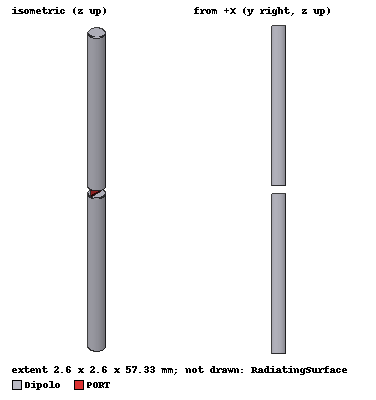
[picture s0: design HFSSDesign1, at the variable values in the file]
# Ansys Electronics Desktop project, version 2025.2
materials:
  vacuum: permittivity=1
  aluminum: permeability=1.000021 conductivity=38000000
  pec: conductivity=1e+30

design HFSSDesign1 (HFSS, HFSS Hybrid Modal Network, model units mm)
options: open_region{BoundaryType=0 OpFreq=2.3GHz}
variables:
  Lambda = 130mm
  LA = 0.441*Lambda
  RA = 0.01*Lambda
  GAP = 0.01*Lambda
  L_tune = 0.5
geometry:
  RadiatingSurface [vacuum] = region(absolute_offset=43.478261mm on all sides)
  Dipolo [pec] = cylinder(axis=Z, base_centre=(0mm, 0mm, -LA/2), radius=RA, height=LA)
  Gap = cylinder(axis=Z, base_centre=(0mm, 0mm, -GAP/2), radius=RA, height=GAP)
  Dipolo.subtract(Gap)
  PORT = rectangle(corner=(-RA, 0mm, -RA/2), z_size=GAP, x_size=2*RA)
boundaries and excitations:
  AutoOpen1: Radiation Objects=RadiatingSurface
  1: Lumped Port Objects=PORT LumpedPortType=Default Modes{Mode1{IntLine{(0, 0, -0.65) -> (0, 0, 0.65)} CharImp=Zpi}} Impedance=50ohm
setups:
  Setup1: HfssDriven Frequency=2.3GHz MaxDeltaS=0.02 MaximumPasses=6 MinimumPasses=1 MinimumConvergedPasses=1 PercentRefinement=30 BasisOrder=1 PortAccuracy=2 DrivenSolverType="Direct Solver"
    sweep Sweep: 1.15GHz to 3.45GHz, 1001 points; Type=Interpolating SaveFields InterpTolerance=0.5 InterpMaxSolns=250 InterpUsePortImped=false PassivityErrorTolerance=0.0001
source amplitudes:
  1:1: 1W 0deg
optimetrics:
  ParametricSetup1: Parametric disabled Sim._Setups=[Setup1]
    sweep L_tune: LIN 0.5 0.4 -0.001
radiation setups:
  3D: Infinite Sphere Theta=0deg..180deg step 2deg Phi=-180deg..180deg step 2deg
  Elevation: Infinite Sphere Theta=-180deg..180deg step 1deg Phi=0deg..90deg step 90deg
  Azimuth: Infinite Sphere Theta=90deg..90deg step 0deg Phi=-180deg..180deg step 1deg
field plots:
  ComplexMag_Jsurf1: Jsurf over Dipolo.face(all 6) on Setup1 : LastAdaptive at Freq=2.3GHz Phase=0deg
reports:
  S Parameter Plot1: dB(S(1,1)) vs Freq on Setup1 : Sweep; markers MX1 at x=2.3e+09, MY1 at y=-10
  Z Parameter Plot1: re(Z(1,1)), im(Z(1,1)) vs Freq on Setup1 : Sweep; markers MX1 at x=2.3e+09
  Directivity Plot2: dB(DirTotal) vs Phi, Theta on Setup1 : LastAdaptive, 3D [Freq=2.3GHz L_tune=0.5]
  Directivity Plot3: dB(DirTotal) vs Theta on Setup1 : LastAdaptive, Elevation [Phi=all Freq=2.3GHz]; dB(DirTotal) vs Phi on Setup1 : LastAdaptive, Azimuth [Theta=all Freq=2.3GHz]
  Plot1: RadiationEfficiency*100, TotalEfficiency*100 vs Freq on Setup1 : LastAdaptive
  Antenna Params Plot1: dB(PeakGain) vs Freq on Setup1 : LastAdaptive
  Gain Plot1: dB(GainTotal) vs Phi, Theta on Setup1 : LastAdaptive, 3D [Freq=2.3GHz]
